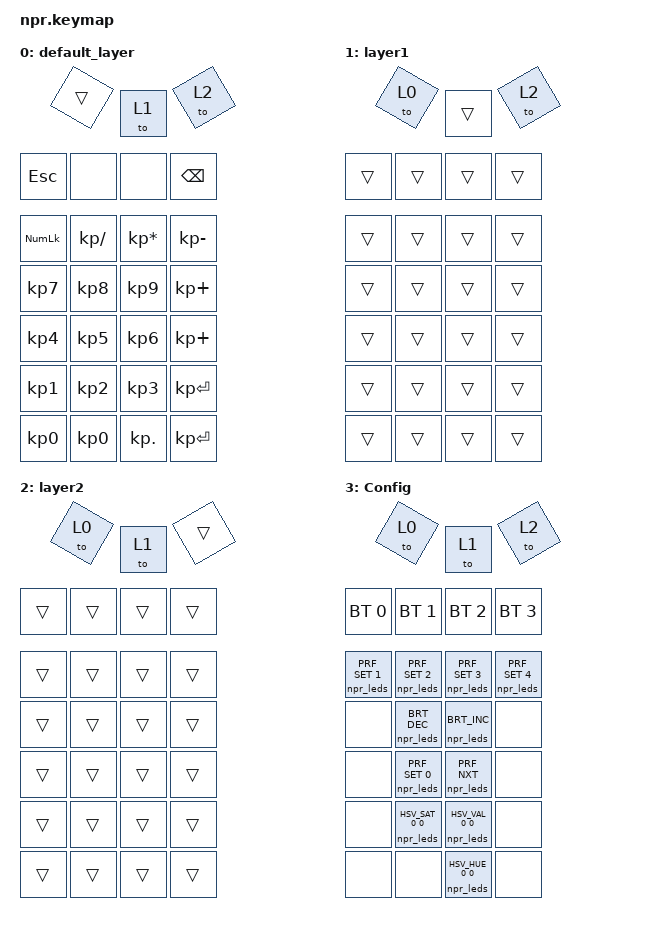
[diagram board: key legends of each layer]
#include <behaviors.dtsi>
#include <behaviors/soft_off.dtsi>
#include <behaviors/npr_status_leds.dtsi>
#include <dt-bindings/zmk/keys.h>
#include <dt-bindings/zmk/bt.h>
#include <dt-bindings/zmk/outputs.h>
#include <dt-bindings/zmk_keyboard_npr/status_leds.h>

#define OUTPUT_SOURCE_LAYER_STATE_CHANGE        1
#define OUTPUT_SOURCE_POSITION_STATE_CHANGE     2
#define OUTPUT_SOURCE_KEYCODE_STATE_CHANGE      3
#define OUTPUT_SOURCE_MOUSE_BUTTON_STATE_CHANGE 4
#define OUTPUT_SOURCE_MOUSE_WHEEL_STATE_CHANGE  5
#define OUTPUT_SOURCE_TRANSPORT                 6

&soft_off {
    hold-time-ms = <2000>; // Only turn off it the key is held for 2 seconds or longer.
};

/ {
    sol_on: sol_on {
        compatible = "zmk,output-behavior-generic"; 
        #binding-cells = <0>;
        device = <&output_sol>; 
        time-to-live-ms = <20>; // (dwell time)
        force = <1>;
    };
    
    sol_listener {
        compatible = "zmk,output-behavior-listener";
        layers = < 0 1 2 >;
        sources = < OUTPUT_SOURCE_POSITION_STATE_CHANGE >;
    
        bindings = < &sol_on >;
    };

    combos {
        compatible = "zmk,combos";
        config_layer {
            timeout-ms = <50>;
            key-positions = <3 4>;
            bindings = <&tog 3>;
        };
        combo_off {
            timeout-ms = <200>;
            key-positions = <5 6>;
            bindings = <&soft_off>;
        };
    };

    keymap {
        compatible = "zmk,keymap";
        default_layer {
                // -------------------------
                // | ESC | CAL | TAB | PEL |
                // | NUM |  /  |  *  |  -  |
                // |  7  |  8  |  9  |  +  |
                // |  4  |  5  |  6  |     |
                // |  1  |  2  |  3  | ENT |
                // |    0      |  .        |
                // -------------------------
            bindings = <
                            &trans       &to 1           &to 2
                &kp ESC     &none        &none           &kp BSPC
                &kp KP_NLCK &kp KP_SLASH &kp KP_ASTERISK &kp KP_MINUS
                &kp KP_N7   &kp KP_N8    &kp KP_N9       &kp KP_PLUS
                &kp KP_N4   &kp KP_N5    &kp KP_N6       &kp KP_PLUS
                &kp KP_N1   &kp KP_N2    &kp KP_N3       &kp KP_ENTER
                &kp KP_N0   &kp KP_N0    &kp KP_DOT      &kp KP_ENTER
            >
            ;
        };
        layer1 {
            bindings = <
                       &to 0  &trans &to 2
                &trans &trans &trans &trans
                &trans &trans &trans &trans
                &trans &trans &trans &trans
                &trans &trans &trans &trans
                &trans &trans &trans &trans
                &trans &trans &trans &trans
            >
            ;
        };
        layer2 {
            bindings = <
                       &to 0  &to 1  &trans
                &trans &trans &trans &trans
                &trans &trans &trans &trans
                &trans &trans &trans &trans
                &trans &trans &trans &trans
                &trans &trans &trans &trans
                &trans &trans &trans &trans
            >
            ;
        };
        layer3 {
            display-name = "Config";
            bindings = <
                                    &to 0                 &to 1                 &to 2
                &bt BT_SEL 0        &bt BT_SEL 1          &bt BT_SEL 2          &bt BT_SEL 3
                &npr_leds PRF_SET 1 &npr_leds PRF_SET 2   &npr_leds PRF_SET 3   &npr_leds PRF_SET 4
                &none               &npr_leds BRT_DEC     &npr_leds BRT_INC     &none
                &none               &npr_leds PRF_SET 0   &npr_leds PRF_NXT     &none
                &none               &npr_leds HSV_SAT_0 0 &npr_leds HSV_VAL_0 0 &none
                &none               &none                 &npr_leds HSV_HUE_0 0 &none
            >
            ;
        };
        layer4 {
            status = "reserved";
        };
        layer5 {
            status = "reserved";
        };
    };
};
